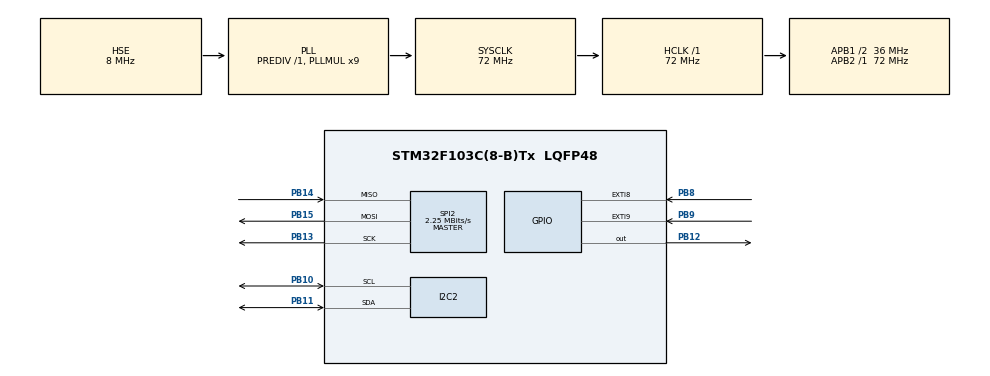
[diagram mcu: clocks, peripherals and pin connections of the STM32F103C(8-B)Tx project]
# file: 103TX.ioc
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Mcu.Family=STM32F1
RCC.PLLSourceVirtual=RCC_PLLSOURCE_HSE
PD1-OSC_OUT.Mode=HSE-External-Oscillator
SPI2.VirtualType=VM_MASTER
PB10.Mode=I2C
PD0-OSC_IN.Signal=RCC_OSC_IN
RCC.APB1CLKDivider=RCC_HCLK_DIV2
PB11.Signal=I2C2_SDA
PB15.Signal=SPI2_MOSI
PB13.Signal=SPI2_SCK
RCC.SYSCLKSource=RCC_SYSCLKSOURCE_PLLCLK
ProjectManager.StackSize=0x400
PD1-OSC_OUT.Signal=RCC_OSC_OUT
PA13.Signal=SYS_JTMS-SWDIO
PB8.GPIO_ModeDefaultEXTI=GPIO_MODE_IT_FALLING
PB11.Mode=I2C
ProjectManager.TargetToolchain=MDK-ARM V5.27
SPI2.CRCCalculation=SPI_CRCCALCULATION_DISABLE
RCC.HCLKFreq_Value=72000000
RCC.APB2TimFreq_Value=72000000
PB9.GPIO_ModeDefaultEXTI=GPIO_MODE_IT_FALLING
RCC.USBFreq_Value=72000000
TIM4.Prescaler=17
RCC.AHBFreq_Value=72000000
SPI2.BaudRatePrescaler=SPI_BAUDRATEPRESCALER_16
PB10.Signal=I2C2_SCL
PD0-OSC_IN.Mode=HSE-External-Oscillator
PB14.Signal=SPI2_MISO
board=custom
RCC.PLLMUL=RCC_PLL_MUL9
PB15.Mode=Full_Duplex_Master
RCC.APB2Freq_Value=72000000
PA14.Mode=Serial_Wire
PB14.Mode=Full_Duplex_Master
SPI2.CalculateBaudRate=2.25 MBits/s
TIM4.Period=249
PA13.Mode=Serial_Wire
Mcu.Name=STM32F103C(8-B)Tx
RCC.SYSCLKFreq_VALUE=72000000
Mcu.Package=LQFP48
PB9.Signal=GPXTI9
SPI2.Mode=SPI_MODE_MASTER
NVIC.EXTI9_5_IRQn=true\:0\:0\:false\:false\:true\:true\:true
PA14.Signal=SYS_JTCK-SWCLK
ProjectManager.HeapSize=0x400
SPI2.CLKPhase=SPI_PHASE_2EDGE
VP_TIM4_VS_ClockSourceINT.Mode=Internal
NVIC.PriorityGroup=NVIC_PRIORITYGROUP_4
RCC.APB1TimFreq_Value=72000000
PB8.Signal=GPXTI8
SPI2.Direction=SPI_DIRECTION_2LINES
PB13.Mode=Full_Duplex_Master
NVIC.TIM4_IRQn=true\:0\:0\:false\:false\:true\:true\:true
RCC.APB1Freq_Value=36000000
PB12.Signal=GPIO_Output

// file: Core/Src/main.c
/* USER CODE BEGIN Header */
/**
  ******************************************************************************
  * @file           : main.c
  * @brief          : Main program body
  ******************************************************************************
  * @attention
  *
  * <h2><center>&copy; Copyright (c) 2020 STMicroelectronics.
  * All rights reserved.</center></h2>
  *
  * This software component is licensed by ST under BSD 3-Clause license,
  * the "License"; You may not use this file except in compliance with the
  * License. You may obtain a copy of the License at:
  *                        opensource.org/licenses/BSD-3-Clause
  *
  ******************************************************************************
  */
/* USER CODE END Header */
#include "main.h"
#include "i2c.h"
#include "spi.h"
#include "tim.h"
#include "gpio.h"

/* USER CODE BEGIN Includes */
#include "bsp_one_line.h"
#include "app_one_line.h"

#include "bsp_oled.h"
#include "ads1120.h"
/* USER CODE END Includes */

void SystemClock_Config(void);

/* USER CODE BEGIN 0 */
uint8_t str_buff[100] = {0};
/* USER CODE END 0 */

int main(void)
{

  /* MCU Configuration--------------------------------------------------------*/

  /* Reset of all peripherals, Initializes the Flash interface and the Systick. */
  HAL_Init();

  /* Configure the system clock */
  SystemClock_Config();

  /* Initialize all configured peripherals */
  MX_GPIO_Init();
  MX_TIM4_Init();
  MX_I2C2_Init();
  MX_SPI2_Init();
  /* USER CODE BEGIN 2 */
    __HAL_TIM_ENABLE_IT(&htim4, TIM_IT_UPDATE);
    HAL_TIM_Base_Start_IT(&htim4);

    OLED_Init();
    adc_init_internal_temperature();

    OLED_Fill(0x00);

    memcpy(str_buff, "1234567890abcdefghijklmn", 25);
    one_line_send(str_buff, 24);

	uint8_t test_i = 0;

  /* USER CODE END 2 */

  /* Infinite loop */
  /* USER CODE BEGIN WHILE */
    while (1)
    {
//        OneLineTest();

        memcpy(str_buff, "1234567890abcdefghijklmn", 25);
        switch(test_i)
        {
            case 0: oled_show_str(0, 0, str_buff, 8); break;
            case 1: oled_show_str(0, 0, str_buff, 12); break;
            case 2: oled_show_str(0, 0, str_buff, 16); break;
            case 3: oled_show_str(0, 0, str_buff, 24); break;
        }

		HAL_Delay(1000);

        memset(str_buff, ' ', sizeof(str_buff));
        switch(test_i)
        {
            case 0: oled_show_str(0, 0, str_buff, 8); test_i++; break;
            case 1: oled_show_str(0, 0, str_buff, 12); test_i++; break;
            case 2: oled_show_str(0, 0, str_buff, 16); test_i++; break;
            case 3: oled_show_str(0, 0, str_buff, 24); test_i = 0; break;
        }

//        adc_get_sample();
//        HAL_Delay(20);

//        oled_show_pic(0, 0, 128, 8, qt_image);
//        HAL_Delay(1000);
//        oled_show_pic(0, 0, 128, 8, nvidia_image);
//        HAL_Delay(1000);

    /* USER CODE END WHILE */

    }
}

void SystemClock_Config(void)
{
  RCC_OscInitTypeDef RCC_OscInitStruct = {0};
  RCC_ClkInitTypeDef RCC_ClkInitStruct = {0};

  /** Initializes the RCC Oscillators according to the specified parameters
  * in the RCC_OscInitTypeDef structure.
  */
  RCC_OscInitStruct.OscillatorType = RCC_OSCILLATORTYPE_HSE;
  RCC_OscInitStruct.HSEState = RCC_HSE_ON;
  RCC_OscInitStruct.HSEPredivValue = RCC_HSE_PREDIV_DIV1;
  RCC_OscInitStruct.HSIState = RCC_HSI_ON;
  RCC_OscInitStruct.PLL.PLLState = RCC_PLL_ON;
  RCC_OscInitStruct.PLL.PLLSource = RCC_PLLSOURCE_HSE;
  RCC_OscInitStruct.PLL.PLLMUL = RCC_PLL_MUL9;
  if (HAL_RCC_OscConfig(&RCC_OscInitStruct) != HAL_OK)
  {
    Error_Handler();
  }
  /** Initializes the CPU, AHB and APB buses clocks
  */
  RCC_ClkInitStruct.ClockType = RCC_CLOCKTYPE_HCLK|RCC_CLOCKTYPE_SYSCLK
                              |RCC_CLOCKTYPE_PCLK1|RCC_CLOCKTYPE_PCLK2;
  RCC_ClkInitStruct.SYSCLKSource = RCC_SYSCLKSOURCE_PLLCLK;
  RCC_ClkInitStruct.AHBCLKDivider = RCC_SYSCLK_DIV1;
  RCC_ClkInitStruct.APB1CLKDivider = RCC_HCLK_DIV2;
  RCC_ClkInitStruct.APB2CLKDivider = RCC_HCLK_DIV1;

  if (HAL_RCC_ClockConfig(&RCC_ClkInitStruct, FLASH_LATENCY_2) != HAL_OK)
  {
    Error_Handler();
  }
}

void Error_Handler(void)
{
}

/************************ (C) COPYRIGHT STMicroelectronics *****END OF FILE****/
